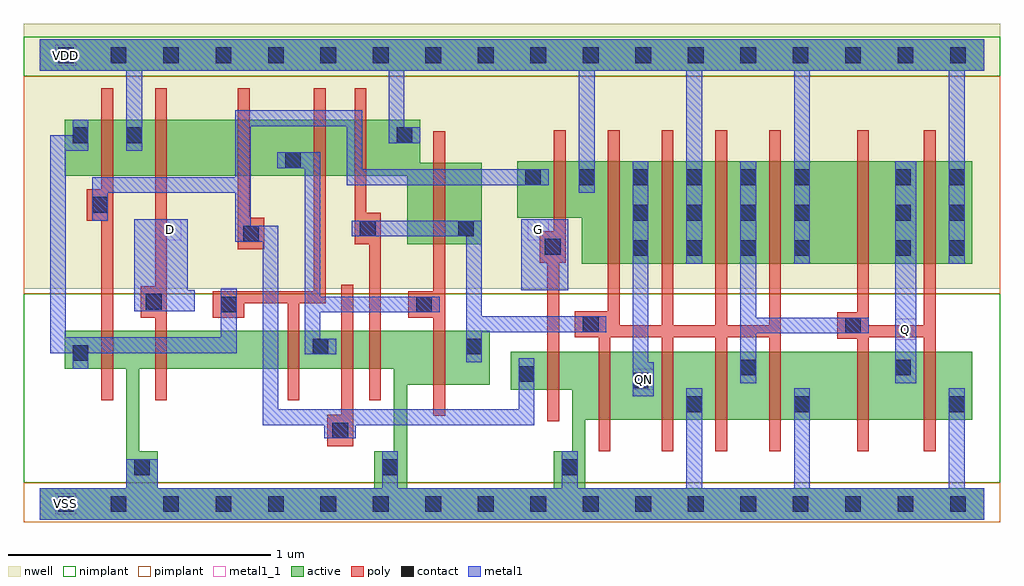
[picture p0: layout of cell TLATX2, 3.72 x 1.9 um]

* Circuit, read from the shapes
.subckt TLATX2 D G Q QN VDD VSS
M1 VSS n1 n2 VSS nfet w=0.145u l=0.045u
M2 n3 D VSS VSS nfet w=0.145u l=0.045u
M3 n4 n2 n3 VSS nfet w=0.145u l=0.045u
M4 n5 n1 n4 VSS nfet w=0.145u l=0.045u
M5 VSS n6 n5 VSS nfet w=0.145u l=0.045u
M6 n6 n4 VSS VSS nfet w=0.205u l=0.045u
M7 VSS G n1 VSS nfet w=0.145u l=0.045u
M8 QN n6 VSS VSS nfet w=0.26u l=0.045u m=2
M9 n7 n6 VSS VSS nfet w=0.26u l=0.045u m=2
M10 Q n7 VSS VSS nfet w=0.26u l=0.045u m=2
M11 VDD n1 n2 VDD pfet w=0.215u l=0.045u
M12 n8 D VDD VDD pfet w=0.215u l=0.045u
M13 n4 n1 n8 VDD pfet w=0.215u l=0.045u
M14 n9 n2 n4 VDD pfet w=0.215u l=0.045u
M15 VDD n6 n9 VDD pfet w=0.215u l=0.045u
M16 n6 n4 VDD VDD pfet w=0.31u l=0.045u
M17 VDD G n1 VDD pfet w=0.215u l=0.045u
M18 QN n6 VDD VDD pfet w=0.39u l=0.045u m=2
M19 n7 n6 VDD VDD pfet w=0.39u l=0.045u m=2
M20 Q n7 VDD VDD pfet w=0.39u l=0.045u m=2
.ends

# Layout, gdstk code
import gdstk
lib = gdstk.Library(unit=1e-6, precision=5e-10)
def R(c, l, rs):  # rectangles x0, y0, x1, y1
    for r in rs: c.add(gdstk.rectangle(r[:2], r[2:], *l))
def A(c, l, x, y, w, h, nx, ny, dx, dy):  # array of equal rectangles
    R(c, l, [(x+i*dx, y+j*dy, x+i*dx+w, y+j*dy+h) for i in range(nx) for j in range(ny)])
def P(c, l, *ps):  # polygons
    for p in ps: c.add(gdstk.Polygon(p, *l))
active = (1, 0)
nwell = (2, 0)
poly = (3, 0)
nimplant = (4, 0)
pimplant = (5, 0)
contact = (6, 0)
metal1 = (7, 0)
metal1_1 = (7, 1)

tlatx2 = lib.new_cell('TLATX2')
R(tlatx2, active, [(0,1.65,3.6,1.77)])
P(tlatx2, active, [(0.095,1.465),(1.45,1.465),(1.45,1.3),(1.685,1.3),(1.685,0.99),(1.4,0.99),(1.4,1.25),(0.095,1.25)],
  [(1.82,1.305),(3.555,1.305),(3.555,0.915),(2.065,0.915),(2.065,1.09),(1.82,1.09)],
  [(0.095,0.66),(1.715,0.66),(1.715,0.455),(1.4,0.455),(1.4,0.06),(1.96,0.06),(1.96,0.2),(2.03,0.2),(2.03,0.435),(1.795,0.435),(1.795,0.58),(3.555,0.58),(3.555,0.32),(2.08,0.32),(2.08,0.06),(3.6,0.06),(3.6,-0.06),(0,-0.06),(0,0.06),(0.33,0.06),(0.33,0.515),(0.38,0.515),(0.38,0.2),(0.45,0.2),(0.45,0.06),(1.275,0.06),(1.275,0.2),(1.35,0.2),(1.35,0.515),(0.095,0.515)])
R(tlatx2, nwell, [(-0.06,0.82,3.66,1.83)])
P(tlatx2, poly, [(0.235,1.585),(0.28,1.585),(0.28,0.395),(0.235,0.395),(0.235,1.08),(0.18,1.08),(0.18,1.2),(0.235,1.2)],
  [(0.44,1.585),(0.485,1.585),(0.485,0.395),(0.44,0.395),(0.44,0.71),(0.385,0.71),(0.385,0.83),(0.44,0.83)],
  [(0.755,1.585),(0.8,1.585),(0.8,1.09),(0.855,1.09),(0.855,0.97),(0.755,0.97)],
  [(1.045,1.585),(1.09,1.585),(1.09,0.765),(0.99,0.765),(0.99,0.395),(0.945,0.395),(0.945,0.765),(0.78,0.765),(0.78,0.71),(0.66,0.71),(0.66,0.81),(1.045,0.81)],
  [(1.2,1.585),(1.245,1.585),(1.245,1.11),(1.3,1.11),(1.3,0.395),(1.255,0.395),(1.255,0.99),(1.2,0.99)],
  [(1.5,1.42),(1.545,1.42),(1.545,0.335),(1.5,0.335),(1.5,0.71),(1.405,0.71),(1.405,0.81),(1.5,0.81)],
  [(1.96,1.425),(2.005,1.425),(2.005,0.92),(1.98,0.92),(1.98,0.315),(1.935,0.315),(1.935,0.92),(1.905,0.92),(1.905,1.04),(1.96,1.04)],
  [(2.165,1.425),(2.21,1.425),(2.21,0.68),(2.37,0.68),(2.37,1.425),(2.415,1.425),(2.415,0.68),(2.575,0.68),(2.575,1.425),(2.62,1.425),(2.62,0.68),(2.78,0.68),(2.78,1.425),(2.825,1.425),(2.825,0.2),(2.78,0.2),(2.78,0.635),(2.62,0.635),(2.62,0.2),(2.575,0.2),(2.575,0.635),(2.415,0.635),(2.415,0.2),(2.37,0.2),(2.37,0.635),(2.175,0.635),(2.175,0.2),(2.13,0.2),(2.13,0.635),(2.04,0.635),(2.04,0.735),(2.165,0.735)],
  [(3.115,1.425),(3.16,1.425),(3.16,0.68),(3.37,0.68),(3.37,1.425),(3.415,1.425),(3.415,0.2),(3.37,0.2),(3.37,0.635),(3.16,0.635),(3.16,0.2),(3.115,0.2),(3.115,0.63),(3.04,0.63),(3.04,0.73),(3.115,0.73)],
  [(1.15,0.835),(1.195,0.835),(1.195,0.22),(1.095,0.22),(1.095,0.34),(1.15,0.34)])
R(tlatx2, nimplant, [(-0.06,0.08,3.66,0.8), (-0.06,1.63,3.66,1.78)])
R(tlatx2, pimplant, [(-0.06,-0.07,3.66,0.08), (-0.06,0.8,3.66,1.63)])
A(tlatx2, contact, 0.07, -0.03, 0.06, 0.06, 18, 2, 0.2, 1.71)
A(tlatx2, contact, 2.26, 0.945, 0.06, 0.06, 4, 2, 0.205, 0.135)
A(tlatx2, contact, 3.26, 0.945, 0.06, 0.06, 1, 3, 0, 0.135)
A(tlatx2, contact, 3.465, 0.945, 0.06, 0.06, 1, 3, 0, 0.135)
A(tlatx2, contact, 1.85, 1.215, 0.06, 0.06, 6, 1, 0.205, 0)
R(tlatx2, contact, [(0.36,0.11,0.42,0.17), (1.305,0.11,1.365,0.17), (1.99,0.11,2.05,0.17), (1.115,0.25,1.175,0.31), (2.465,0.35,2.525,0.41), (2.875,0.35,2.935,0.41), (3.465,0.35,3.525,0.41), (2.26,0.44,2.32,0.5), (1.825,0.465,1.885,0.525), (2.67,0.49,2.73,0.55), (3.26,0.49,3.32,0.55), (0.125,0.545,0.185,0.605), (1.04,0.57,1.1,0.63), (1.625,0.57,1.685,0.63), (3.07,0.65,3.13,0.71), (2.07,0.655,2.13,0.715), (0.69,0.73,0.75,0.79), (1.435,0.73,1.495,0.79), (0.405,0.74,0.465,0.8), (1.925,0.95,1.985,1.01), (0.775,1,0.835,1.06), (1.22,1.02,1.28,1.08), (1.595,1.02,1.655,1.08), (0.2,1.11,0.26,1.17), (0.935,1.28,0.995,1.34), (0.125,1.375,0.185,1.435), (0.33,1.375,0.39,1.435), (1.36,1.375,1.42,1.435)])
R(tlatx2, metal1, [(3.26,0.46,3.34,1.305), (1.835,0.815,2.015,1.085)])
P(tlatx2, metal1, [(0,1.77),(3.6,1.77),(3.6,1.65),(3.525,1.65),(3.525,0.915),(3.465,0.915),(3.465,1.65),(2.935,1.65),(2.935,0.915),(2.875,0.915),(2.875,1.65),(2.525,1.65),(2.525,0.915),(2.465,0.915),(2.465,1.65),(2.115,1.65),(2.115,1.185),(2.055,1.185),(2.055,1.65),(1.39,1.65),(1.39,1.435),(1.45,1.435),(1.45,1.375),(1.33,1.375),(1.33,1.65),(0.39,1.65),(0.39,1.345),(0.33,1.345),(0.33,1.65),(0,1.65)],
  [(0.125,1.465),(0.185,1.465),(0.185,1.345),(0.1,1.345),(0.1,0.635),(0.69,0.635),(0.69,0.82),(0.75,0.82),(0.75,0.575),(0.185,0.575),(0.185,0.515),(0.125,0.515),(0.125,0.575),(0.04,0.575),(0.04,1.405),(0.125,1.405)],
  [(0.745,1.5),(1.23,1.5),(1.23,1.275),(1.94,1.275),(1.94,1.215),(1.17,1.215),(1.17,1.44),(0.805,1.44),(0.805,1.06),(0.91,1.06),(0.91,0.36),(1.825,0.36),(1.825,0.555),(1.885,0.555),(1.885,0.3),(1.205,0.3),(1.205,0.25),(1.085,0.25),(1.085,0.3),(0.85,0.3),(0.85,1),(0.745,1),(0.745,1.185),(0.26,1.185),(0.26,1.08),(0.2,1.08),(0.2,1.245),(0.745,1.245)],
  [(0.905,1.34),(1.07,1.34),(1.07,0.79),(1.525,0.79),(1.525,0.73),(1.07,0.73),(1.07,0.63),(1.13,0.63),(1.13,0.57),(1.01,0.57),(1.01,1.28),(0.905,1.28)],
  [(2.26,1.305),(2.32,1.305),(2.32,0.54),(2.34,0.54),(2.34,0.41),(2.26,0.41)],
  [(0.36,1.085),(0.565,1.085),(0.565,0.815),(0.59,0.815),(0.59,0.735),(0.36,0.735)],
  [(1.19,1.08),(1.685,1.08),(1.685,0.715),(2.16,0.715),(2.16,0.655),(1.685,0.655),(1.685,0.54),(1.625,0.54),(1.625,1.02),(1.19,1.02)],
  [(2.67,1.305),(2.73,1.305),(2.73,0.71),(3.16,0.71),(3.16,0.65),(2.73,0.65),(2.73,0.46),(2.67,0.46)],
  [(0.33,0.17),(0.45,0.17),(0.45,0.06),(1.305,0.06),(1.305,0.2),(1.365,0.2),(1.365,0.06),(1.99,0.06),(1.99,0.2),(2.05,0.2),(2.05,0.06),(2.465,0.06),(2.465,0.44),(2.525,0.44),(2.525,0.06),(2.875,0.06),(2.875,0.44),(2.935,0.44),(2.935,0.06),(3.465,0.06),(3.465,0.44),(3.525,0.44),(3.525,0.06),(3.6,0.06),(3.6,-0.06),(0,-0.06),(0,0.06),(0.33,0.06)])
R(tlatx2, metal1_1, [(0.06,-0.04,0.14,0.04), (2.26,0.435,2.34,0.515), (3.26,0.625,3.34,0.705), (0.46,1.005,0.54,1.085), (1.86,1.005,1.94,1.085), (0.06,1.67,0.14,1.75)])
tlatx2.add(gdstk.Label('VSS', (0.1,0), layer=7, texttype=1))
tlatx2.add(gdstk.Label('VDD', (0.1,1.71), layer=7, texttype=1))
tlatx2.add(gdstk.Label('D', (0.5,1.045), layer=7, texttype=1))
tlatx2.add(gdstk.Label('G', (1.9,1.045), layer=7, texttype=1))
tlatx2.add(gdstk.Label('QN', (2.3,0.475), layer=7, texttype=1))
tlatx2.add(gdstk.Label('Q', (3.3,0.665), layer=7, texttype=1))
tlatx2.add(gdstk.Label('TLATX2', (0,0), layer=63, texttype=0))

lib.write_gds('TLATX2.gds')
